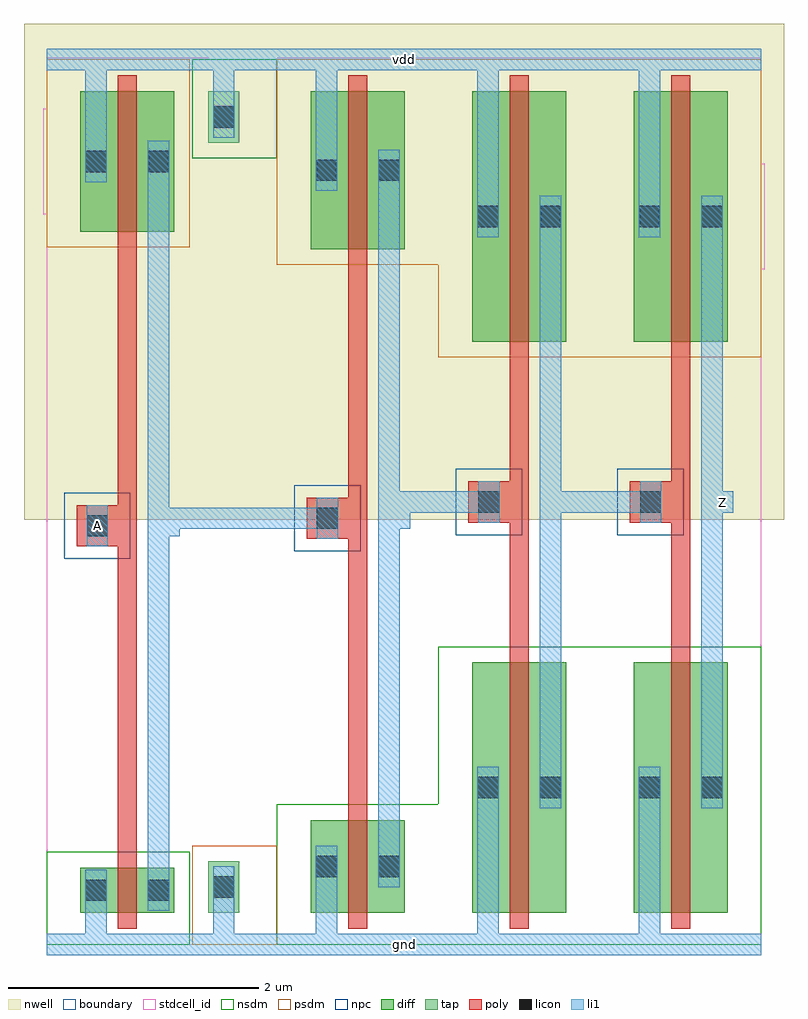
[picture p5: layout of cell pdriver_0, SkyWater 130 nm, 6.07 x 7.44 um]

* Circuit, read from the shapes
.subckt pdriver_0 A Z gnd vdd
XM1 pinv_3_1/A A gnd gnd sky130_fd_pr__nfet_01v8 w=0.36 l=0.15
XM2 pinv_5_2/A pinv_3_1/A gnd gnd sky130_fd_pr__nfet_01v8 w=0.74 l=0.15
XM3 pinv_6_3/A pinv_5_2/A gnd gnd sky130_fd_pr__nfet_01v8 w=2 l=0.15
XM4 Z pinv_6_3/A gnd gnd sky130_fd_pr__nfet_01v8 w=2 l=0.15
XM5 pinv_3_1/A A vdd vdd sky130_fd_pr__pfet_01v8 w=1.12 l=0.15
XM6 pinv_5_2/A pinv_3_1/A vdd vdd sky130_fd_pr__pfet_01v8 w=1.26 l=0.15
XM7 pinv_6_3/A pinv_5_2/A vdd vdd sky130_fd_pr__pfet_01v8 w=2 l=0.15
XM8 Z pinv_6_3/A vdd vdd sky130_fd_pr__pfet_01v8 w=2 l=0.15
.ends

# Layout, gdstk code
import gdstk
lib = gdstk.Library(unit=1e-6, precision=1e-09)
def R(c, l, rs):  # rectangles x0, y0, x1, y1
    for r in rs: c.add(gdstk.rectangle(r[:2], r[2:], *l))
nwell = (64, 20)
diff = (65, 20)
tap = (65, 44)
poly = (66, 20)
licon = (66, 44)
li1 = (67, 20)
stdcell_id = (81, 4)
nsdm = (93, 44)
psdm = (94, 20)
npc = (95, 20)
boundary = (235, 4)

contact_11 = lib.new_cell('contact_11')
R(contact_11, nwell, [(-0.295,-0.255,0.545,0.585)])
R(contact_11, diff, [(0,0.02,0.25,0.31)])
R(contact_11, licon, [(0.04,0.08,0.21,0.25)])
R(contact_11, li1, [(0.04,0,0.21,0.33)])
R(contact_11, stdcell_id, [(-0.295,-0.255,0.545,0.585)])
R(contact_11, psdm, [(-0.125,-0.105,0.375,0.435)])
R(contact_11, boundary, [(-0.295,-0.255,0.545,0.585)])

pmos_m1_w1_120_sli_dli_d = lib.new_cell('pmos_m1_w1_120_sli_dli_da_p')
R(pmos_m1_w1_120_sli_dli_d, nwell, [(-0.27,-0.27,1.02,1.39)])
R(pmos_m1_w1_120_sli_dli_d, diff, [(0,0,0.75,1.12)])
R(pmos_m1_w1_120_sli_dli_d, poly, [(0.3,-0.13,0.45,1.25), (0.3,-0.13,0.45,1.25)])
R(pmos_m1_w1_120_sli_dli_d, li1, [(0.04,0.395,0.21,0.725), (0.54,0.395,0.71,0.725)])
R(pmos_m1_w1_120_sli_dli_d, stdcell_id, [(-0.27,-0.27,1.02,1.39)])
R(pmos_m1_w1_120_sli_dli_d, psdm, [(-0.125,-0.125,0.875,1.245)])
R(pmos_m1_w1_120_sli_dli_d, boundary, [(-0.27,-0.27,1.02,1.39)])
pmos_m1_w1_120_sli_dli_d.add(gdstk.Reference(contact_11, (0,0.395)))
pmos_m1_w1_120_sli_dli_d.add(gdstk.Reference(contact_11, (0.5,0.395)))
pmos_m1_w1_120_sli_dli_d.add(gdstk.Label('S', (0.125,0.56), layer=67, texttype=16))
pmos_m1_w1_120_sli_dli_d.add(gdstk.Label('G', (0.375,0.56), layer=66, texttype=16))
pmos_m1_w1_120_sli_dli_d.add(gdstk.Label('D', (0.625,0.56), layer=67, texttype=16))

contact_17 = lib.new_cell('contact_17')
R(contact_17, diff, [(0,0.02,0.25,0.31)])
R(contact_17, licon, [(0.04,0.08,0.21,0.25)])
R(contact_17, li1, [(0.04,0,0.21,0.33)])
R(contact_17, stdcell_id, [(-0.125,-0.105,0.375,0.435)])
R(contact_17, nsdm, [(-0.125,-0.105,0.375,0.435)])
R(contact_17, boundary, [(-0.125,-0.105,0.375,0.435)])

nmos_m1_w0_360_sli_dli_d = lib.new_cell('nmos_m1_w0_360_sli_dli_da_p')
R(nmos_m1_w0_360_sli_dli_d, diff, [(0,0,0.75,0.36)])
R(nmos_m1_w0_360_sli_dli_d, poly, [(0.3,-0.13,0.45,0.49), (0.3,-0.13,0.45,0.49)])
R(nmos_m1_w0_360_sli_dli_d, li1, [(0.04,0.015,0.21,0.345), (0.54,0.015,0.71,0.345)])
R(nmos_m1_w0_360_sli_dli_d, stdcell_id, [(-0.125,-0.13,0.875,0.49)])
R(nmos_m1_w0_360_sli_dli_d, nsdm, [(-0.125,-0.125,0.875,0.485)])
R(nmos_m1_w0_360_sli_dli_d, boundary, [(-0.125,-0.13,0.875,0.49)])
nmos_m1_w0_360_sli_dli_d.add(gdstk.Reference(contact_17, (0,0.015)))
nmos_m1_w0_360_sli_dli_d.add(gdstk.Reference(contact_17, (0.5,0.015)))
nmos_m1_w0_360_sli_dli_d.add(gdstk.Label('S', (0.125,0.18), layer=67, texttype=16))
nmos_m1_w0_360_sli_dli_d.add(gdstk.Label('G', (0.375,0.18), layer=66, texttype=16))
nmos_m1_w0_360_sli_dli_d.add(gdstk.Label('D', (0.625,0.18), layer=67, texttype=16))

contact_24 = lib.new_cell('contact_24')
R(contact_24, nwell, [(-0.295,-0.215,0.545,0.625)])
R(contact_24, tap, [(0,0,0.25,0.41)])
R(contact_24, licon, [(0.04,0.12,0.21,0.29)])
R(contact_24, li1, [(0.04,0.04,0.21,0.37)])
R(contact_24, stdcell_id, [(-0.295,-0.215,0.545,0.625)])
R(contact_24, nsdm, [(-0.125,-0.125,0.375,0.535)])
R(contact_24, boundary, [(-0.295,-0.215,0.545,0.625)])

contact_25 = lib.new_cell('contact_25')
R(contact_25, tap, [(0,0,0.25,0.41)])
R(contact_25, licon, [(0.04,0.12,0.21,0.29)])
R(contact_25, li1, [(0.04,0.04,0.21,0.37)])
R(contact_25, stdcell_id, [(-0.125,-0.125,0.375,0.535)])
R(contact_25, psdm, [(-0.125,-0.125,0.375,0.535)])
R(contact_25, boundary, [(-0.125,-0.125,0.375,0.535)])

contact_12 = lib.new_cell('contact_12')
R(contact_12, poly, [(0,0,0.33,0.33)])
R(contact_12, licon, [(0.08,0.08,0.25,0.25)])
R(contact_12, li1, [(0.08,0,0.25,0.33)])
R(contact_12, stdcell_id, [(-0.1,-0.1,0.43,0.43)])
R(contact_12, npc, [(-0.1,-0.1,0.43,0.43)])
R(contact_12, boundary, [(-0.1,-0.1,0.43,0.43)])

pinv_4 = lib.new_cell('pinv_4')
R(pinv_4, nwell, [(-0.18,3.395,2.02,7.355)])
R(pinv_4, poly, [(0.57,0.745,0.72,5.565), (0.405,3.18,0.57,3.51)])
R(pinv_4, li1, [(0,-0.085,1.84,0.085), (0.31,-0.085,0.48,0.27), (1.33,0,1.5,0.46), (0.81,0.27,0.98,6.42), (0.32,3.18,0.49,3.51), (0.895,3.26,1.065,3.43), (0.31,6.09,0.48,7.155), (1.33,6.61,1.5,7.07), (0,6.985,1.84,7.155)])
R(pinv_4, stdcell_id, [(0,0,1.84,7.07), (0,0,1.84,7.07)])
R(pinv_4, nsdm, [(0,0,1.145,0.74), (1.165,6.28,1.84,7.07)])
R(pinv_4, psdm, [(1.165,0,1.84,0.79), (0,5.57,1.145,7.07)])
R(pinv_4, boundary, [(0,0,1.84,7.07), (0,0,1.84,7.07)])
pinv_4.add(gdstk.Reference(pmos_m1_w1_120_sli_dli_d, (0.27,5.695)))
pinv_4.add(gdstk.Reference(nmos_m1_w0_360_sli_dli_d, (0.27,0.255)))
pinv_4.add(gdstk.Reference(contact_24, (1.29,6.405)))
pinv_4.add(gdstk.Reference(contact_25, (1.29,0.255)))
pinv_4.add(gdstk.Reference(contact_12, (0.24,3.18)))
pinv_4.add(gdstk.Label('gnd', (0.92,0), layer=67, texttype=16))
pinv_4.add(gdstk.Label('Z', (0.98,3.345), layer=67, texttype=16))
pinv_4.add(gdstk.Label('vdd', (0.92,7.07), layer=67, texttype=16))
pinv_4.add(gdstk.Label('A', (0.405,3.345), layer=67, texttype=16))

pmos_m2_w1_260_sli_dli_d = lib.new_cell('pmos_m2_w1_260_sli_dli_da_p')
R(pmos_m2_w1_260_sli_dli_d, nwell, [(-0.27,-0.27,1.02,1.53)])
R(pmos_m2_w1_260_sli_dli_d, diff, [(0,0,0.75,1.26)])
R(pmos_m2_w1_260_sli_dli_d, poly, [(0.3,-0.13,0.45,1.39), (0.3,-0.13,0.45,1.39)])
R(pmos_m2_w1_260_sli_dli_d, li1, [(0.04,0.465,0.21,0.795), (0.54,0.465,0.71,0.795)])
R(pmos_m2_w1_260_sli_dli_d, stdcell_id, [(-0.27,-0.27,1.02,1.53)])
R(pmos_m2_w1_260_sli_dli_d, psdm, [(-0.125,-0.125,0.875,1.385)])
R(pmos_m2_w1_260_sli_dli_d, boundary, [(-0.27,-0.27,1.02,1.53)])
pmos_m2_w1_260_sli_dli_d.add(gdstk.Reference(contact_11, (0,0.465)))
pmos_m2_w1_260_sli_dli_d.add(gdstk.Reference(contact_11, (0.5,0.465)))
pmos_m2_w1_260_sli_dli_d.add(gdstk.Label('S', (0.125,0.63), layer=67, texttype=16))
pmos_m2_w1_260_sli_dli_d.add(gdstk.Label('G', (0.375,0.63), layer=66, texttype=16))
pmos_m2_w1_260_sli_dli_d.add(gdstk.Label('D', (0.625,0.63), layer=67, texttype=16))

nmos_m2_w0_740_sli_dli_d = lib.new_cell('nmos_m2_w0_740_sli_dli_da_p')
R(nmos_m2_w0_740_sli_dli_d, diff, [(0,0,0.75,0.74)])
R(nmos_m2_w0_740_sli_dli_d, poly, [(0.3,-0.13,0.45,0.87), (0.3,-0.13,0.45,0.87)])
R(nmos_m2_w0_740_sli_dli_d, li1, [(0.04,0.205,0.21,0.535), (0.54,0.205,0.71,0.535)])
R(nmos_m2_w0_740_sli_dli_d, stdcell_id, [(-0.125,-0.13,0.875,0.87)])
R(nmos_m2_w0_740_sli_dli_d, nsdm, [(-0.125,-0.125,0.875,0.865)])
R(nmos_m2_w0_740_sli_dli_d, boundary, [(-0.125,-0.13,0.875,0.87)])
nmos_m2_w0_740_sli_dli_d.add(gdstk.Reference(contact_17, (0,0.205)))
nmos_m2_w0_740_sli_dli_d.add(gdstk.Reference(contact_17, (0.5,0.205)))
nmos_m2_w0_740_sli_dli_d.add(gdstk.Label('S', (0.125,0.37), layer=67, texttype=16))
nmos_m2_w0_740_sli_dli_d.add(gdstk.Label('G', (0.375,0.37), layer=66, texttype=16))
nmos_m2_w0_740_sli_dli_d.add(gdstk.Label('D', (0.625,0.37), layer=67, texttype=16))

pinv_3 = lib.new_cell('pinv_3')
R(pinv_3, nwell, [(-0.18,3.395,1.47,7.355)])
R(pinv_3, poly, [(0.57,1.125,0.72,5.425), (0.405,3.24,0.57,3.57)])
R(pinv_3, li1, [(0,-0.085,1.29,0.085), (0.31,-0.085,0.48,0.46), (0.81,0.46,0.98,6.35), (0.32,3.24,0.49,3.57), (0.895,3.32,1.065,3.49), (0.31,6.02,0.48,7.155), (0,6.985,1.29,7.155)])
R(pinv_3, stdcell_id, [(0,0,1.29,7.07), (0,0,1.29,7.07)])
R(pinv_3, nsdm, [(0,0,1.29,1.12)])
R(pinv_3, psdm, [(0,5.43,1.29,7.07)])
R(pinv_3, boundary, [(0,0,1.29,7.07), (0,0,1.29,7.07)])
pinv_3.add(gdstk.Reference(pmos_m2_w1_260_sli_dli_d, (0.27,5.555)))
pinv_3.add(gdstk.Reference(nmos_m2_w0_740_sli_dli_d, (0.27,0.255)))
pinv_3.add(gdstk.Reference(contact_12, (0.24,3.24)))
pinv_3.add(gdstk.Label('gnd', (0.645,0), layer=67, texttype=16))
pinv_3.add(gdstk.Label('Z', (0.98,3.405), layer=67, texttype=16))
pinv_3.add(gdstk.Label('vdd', (0.645,7.07), layer=67, texttype=16))
pinv_3.add(gdstk.Label('A', (0.405,3.405), layer=67, texttype=16))

pmos_m3_w2_000_sli_dli_d = lib.new_cell('pmos_m3_w2_000_sli_dli_da_p')
R(pmos_m3_w2_000_sli_dli_d, nwell, [(-0.27,-0.27,1.02,2.27)])
R(pmos_m3_w2_000_sli_dli_d, diff, [(0,0,0.75,2)])
R(pmos_m3_w2_000_sli_dli_d, poly, [(0.3,-0.13,0.45,2.13), (0.3,-0.13,0.45,2.13)])
R(pmos_m3_w2_000_sli_dli_d, li1, [(0.04,0.835,0.21,1.165), (0.54,0.835,0.71,1.165)])
R(pmos_m3_w2_000_sli_dli_d, stdcell_id, [(-0.27,-0.27,1.02,2.27)])
R(pmos_m3_w2_000_sli_dli_d, psdm, [(-0.125,-0.125,0.875,2.125)])
R(pmos_m3_w2_000_sli_dli_d, boundary, [(-0.27,-0.27,1.02,2.27)])
pmos_m3_w2_000_sli_dli_d.add(gdstk.Reference(contact_11, (0,0.835)))
pmos_m3_w2_000_sli_dli_d.add(gdstk.Reference(contact_11, (0.5,0.835)))
pmos_m3_w2_000_sli_dli_d.add(gdstk.Label('S', (0.125,1), layer=67, texttype=16))
pmos_m3_w2_000_sli_dli_d.add(gdstk.Label('G', (0.375,1), layer=66, texttype=16))
pmos_m3_w2_000_sli_dli_d.add(gdstk.Label('D', (0.625,1), layer=67, texttype=16))

nmos_m3_w2_000_sli_dli_d = lib.new_cell('nmos_m3_w2_000_sli_dli_da_p')
R(nmos_m3_w2_000_sli_dli_d, diff, [(0,0,0.75,2)])
R(nmos_m3_w2_000_sli_dli_d, poly, [(0.3,-0.13,0.45,2.13), (0.3,-0.13,0.45,2.13)])
R(nmos_m3_w2_000_sli_dli_d, li1, [(0.04,0.835,0.21,1.165), (0.54,0.835,0.71,1.165)])
R(nmos_m3_w2_000_sli_dli_d, stdcell_id, [(-0.125,-0.13,0.875,2.13)])
R(nmos_m3_w2_000_sli_dli_d, nsdm, [(-0.125,-0.125,0.875,2.125)])
R(nmos_m3_w2_000_sli_dli_d, boundary, [(-0.125,-0.13,0.875,2.13)])
nmos_m3_w2_000_sli_dli_d.add(gdstk.Reference(contact_17, (0,0.835)))
nmos_m3_w2_000_sli_dli_d.add(gdstk.Reference(contact_17, (0.5,0.835)))
nmos_m3_w2_000_sli_dli_d.add(gdstk.Label('S', (0.125,1), layer=67, texttype=16))
nmos_m3_w2_000_sli_dli_d.add(gdstk.Label('G', (0.375,1), layer=66, texttype=16))
nmos_m3_w2_000_sli_dli_d.add(gdstk.Label('D', (0.625,1), layer=67, texttype=16))

pinv_5 = lib.new_cell('pinv_5')
R(pinv_5, nwell, [(-0.18,3.395,1.47,7.355)])
R(pinv_5, poly, [(0.57,2.385,0.72,4.685), (0.405,3.37,0.57,3.7)])
R(pinv_5, li1, [(0,-0.085,1.29,0.085), (0.31,-0.085,0.48,1.09), (0.81,1.09,0.98,5.98), (0.32,3.37,0.49,3.7), (0.895,3.45,1.065,3.62), (0.31,5.65,0.48,7.155), (0,6.985,1.29,7.155)])
R(pinv_5, stdcell_id, [(0,0,1.29,7.07), (0,0,1.29,7.07)])
R(pinv_5, nsdm, [(0,0,1.29,2.38)])
R(pinv_5, psdm, [(0,4.69,1.29,7.07)])
R(pinv_5, boundary, [(0,0,1.29,7.07), (0,0,1.29,7.07)])
pinv_5.add(gdstk.Reference(pmos_m3_w2_000_sli_dli_d, (0.27,4.815)))
pinv_5.add(gdstk.Reference(nmos_m3_w2_000_sli_dli_d, (0.27,0.255)))
pinv_5.add(gdstk.Reference(contact_12, (0.24,3.37)))
pinv_5.add(gdstk.Label('gnd', (0.645,0), layer=67, texttype=16))
pinv_5.add(gdstk.Label('Z', (0.98,3.535), layer=67, texttype=16))
pinv_5.add(gdstk.Label('vdd', (0.645,7.07), layer=67, texttype=16))
pinv_5.add(gdstk.Label('A', (0.405,3.535), layer=67, texttype=16))

pmos_m9_w2_000_sli_dli_d = lib.new_cell('pmos_m9_w2_000_sli_dli_da_p')
R(pmos_m9_w2_000_sli_dli_d, nwell, [(-0.27,-0.27,1.02,2.27)])
R(pmos_m9_w2_000_sli_dli_d, diff, [(0,0,0.75,2)])
R(pmos_m9_w2_000_sli_dli_d, poly, [(0.3,-0.13,0.45,2.13), (0.3,-0.13,0.45,2.13)])
R(pmos_m9_w2_000_sli_dli_d, li1, [(0.04,0.835,0.21,1.165), (0.54,0.835,0.71,1.165)])
R(pmos_m9_w2_000_sli_dli_d, stdcell_id, [(-0.27,-0.27,1.02,2.27)])
R(pmos_m9_w2_000_sli_dli_d, psdm, [(-0.125,-0.125,0.875,2.125)])
R(pmos_m9_w2_000_sli_dli_d, boundary, [(-0.27,-0.27,1.02,2.27)])
pmos_m9_w2_000_sli_dli_d.add(gdstk.Reference(contact_11, (0,0.835)))
pmos_m9_w2_000_sli_dli_d.add(gdstk.Reference(contact_11, (0.5,0.835)))
pmos_m9_w2_000_sli_dli_d.add(gdstk.Label('S', (0.125,1), layer=67, texttype=16))
pmos_m9_w2_000_sli_dli_d.add(gdstk.Label('G', (0.375,1), layer=66, texttype=16))
pmos_m9_w2_000_sli_dli_d.add(gdstk.Label('D', (0.625,1), layer=67, texttype=16))

nmos_m9_w2_000_sli_dli_d = lib.new_cell('nmos_m9_w2_000_sli_dli_da_p')
R(nmos_m9_w2_000_sli_dli_d, diff, [(0,0,0.75,2)])
R(nmos_m9_w2_000_sli_dli_d, poly, [(0.3,-0.13,0.45,2.13), (0.3,-0.13,0.45,2.13)])
R(nmos_m9_w2_000_sli_dli_d, li1, [(0.04,0.835,0.21,1.165), (0.54,0.835,0.71,1.165)])
R(nmos_m9_w2_000_sli_dli_d, stdcell_id, [(-0.125,-0.13,0.875,2.13)])
R(nmos_m9_w2_000_sli_dli_d, nsdm, [(-0.125,-0.125,0.875,2.125)])
R(nmos_m9_w2_000_sli_dli_d, boundary, [(-0.125,-0.13,0.875,2.13)])
nmos_m9_w2_000_sli_dli_d.add(gdstk.Reference(contact_17, (0,0.835)))
nmos_m9_w2_000_sli_dli_d.add(gdstk.Reference(contact_17, (0.5,0.835)))
nmos_m9_w2_000_sli_dli_d.add(gdstk.Label('S', (0.125,1), layer=67, texttype=16))
nmos_m9_w2_000_sli_dli_d.add(gdstk.Label('G', (0.375,1), layer=66, texttype=16))
nmos_m9_w2_000_sli_dli_d.add(gdstk.Label('D', (0.625,1), layer=67, texttype=16))

pinv_6 = lib.new_cell('pinv_6')
R(pinv_6, nwell, [(-0.18,3.395,1.47,7.355)])
R(pinv_6, poly, [(0.57,2.385,0.72,4.685), (0.405,3.37,0.57,3.7)])
R(pinv_6, li1, [(0,-0.085,1.29,0.085), (0.31,-0.085,0.48,1.09), (0.81,1.09,0.98,5.98), (0.32,3.37,0.49,3.7), (0.895,3.45,1.065,3.62), (0.31,5.65,0.48,7.155), (0,6.985,1.29,7.155)])
R(pinv_6, stdcell_id, [(0,0,1.29,7.07), (0,0,1.29,7.07)])
R(pinv_6, nsdm, [(0,0,1.29,2.38)])
R(pinv_6, psdm, [(0,4.69,1.29,7.07)])
R(pinv_6, boundary, [(0,0,1.29,7.07), (0,0,1.29,7.07)])
pinv_6.add(gdstk.Reference(pmos_m9_w2_000_sli_dli_d, (0.27,4.815)))
pinv_6.add(gdstk.Reference(nmos_m9_w2_000_sli_dli_d, (0.27,0.255)))
pinv_6.add(gdstk.Reference(contact_12, (0.24,3.37)))
pinv_6.add(gdstk.Label('gnd', (0.645,0), layer=67, texttype=16))
pinv_6.add(gdstk.Label('Z', (0.98,3.535), layer=67, texttype=16))
pinv_6.add(gdstk.Label('vdd', (0.645,7.07), layer=67, texttype=16))
pinv_6.add(gdstk.Label('A', (0.405,3.535), layer=67, texttype=16))

pdriver_0 = lib.new_cell('pdriver_0')
R(pdriver_0, nwell, [(-0.18,3.395,5.89,7.355)])
R(pdriver_0, li1, [(0,-0.085,5.71,0.085), (0.32,3.18,0.49,3.51), (0.895,3.32,1.065,3.49), (0.98,3.32,2.245,3.49), (0.895,3.345,1.065,3.405), (2.735,3.405,2.905,3.535), (2.735,3.45,2.905,3.62), (2.82,3.45,3.535,3.62), (4.11,3.45,4.825,3.62), (5.315,3.45,5.485,3.62), (0,6.985,5.71,7.155)])
R(pdriver_0, stdcell_id, [(0,0,5.71,7.07), (0,0,5.71,7.07)])
R(pdriver_0, boundary, [(0,0,5.71,7.07), (0,0,5.71,7.07)])
pdriver_0.add(gdstk.Reference(pinv_4, (0,0)))
pdriver_0.add(gdstk.Reference(pinv_3, (1.84,0)))
pdriver_0.add(gdstk.Reference(pinv_5, (3.13,0)))
pdriver_0.add(gdstk.Reference(pinv_6, (4.42,0)))
pdriver_0.add(gdstk.Label('gnd', (2.855,0), layer=67, texttype=16))
pdriver_0.add(gdstk.Label('Z', (5.4,3.535), layer=67, texttype=16))
pdriver_0.add(gdstk.Label('vdd', (2.855,7.07), layer=67, texttype=16))
pdriver_0.add(gdstk.Label('A', (0.405,3.345), layer=67, texttype=16))

lib.write_gds('pdriver_0.gds')
